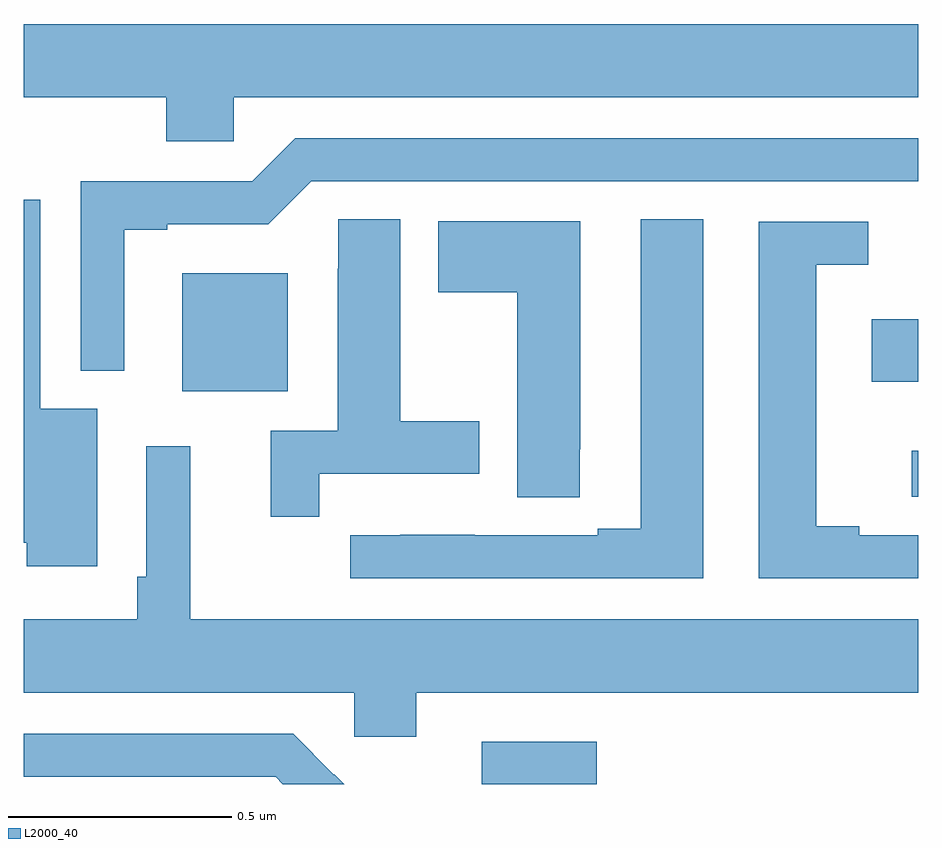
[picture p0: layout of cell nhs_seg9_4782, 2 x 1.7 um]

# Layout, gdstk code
import gdstk
lib = gdstk.Library(unit=1e-6, precision=1e-09)
def R(c, l, rs):  # rectangles x0, y0, x1, y1
    for r in rs: c.add(gdstk.rectangle(r[:2], r[2:], *l))
def P(c, l, *ps):  # polygons
    for p in ps: c.add(gdstk.Polygon(p, *l))
L2000_40 = (2000, 40)

nhs_seg9_4782 = lib.new_cell('nhs_seg9_4782')
R(nhs_seg9_4782, L2000_40, [(171.024,1245.5,171.281,1245.594), (171.986,1246.143,172,1246.245), (170.354,1246.379,170.59,1246.642), (171.896,1246.4,172,1246.54)])
P(nhs_seg9_4782, L2000_40, [(170.469,1247.036),(172,1247.036),(172,1247.2),(170,1247.2),(170,1247.036),(170.318,1247.036),(170.318,1246.938),(170.469,1246.938)],
  [(170.224,1246.74),(170.32,1246.74),(170.32,1246.752),(170.547,1246.752),(170.643,1246.848),(172,1246.848),(172,1246.944),(170.607,1246.944),(170.511,1246.848),(170.127,1246.848),(170.127,1246.424),(170.224,1246.424)],
  [(170.164,1246.339),(170.037,1246.339),(170.037,1246.807),(170,1246.807),(170,1246.04),(170.006,1246.04),(170.006,1245.987),(170.164,1245.987)],
  [(171.52,1246.763),(171.38,1246.763),(171.38,1246.071),(171.284,1246.071),(171.284,1246.056),(171.008,1246.056),(171.008,1246.057),(170.842,1246.057),(170.842,1246.056),(170.73,1246.056),(170.73,1245.96),(171.52,1245.96)],
  [(170.66,1246.194),(171.019,1246.194),(171.019,1246.311),(170.842,1246.311),(170.842,1246.763),(170.703,1246.763),(170.703,1246.652),(170.702,1246.652),(170.702,1246.29),(170.552,1246.29),(170.552,1246.098),(170.66,1246.098)],
  [(171.243,1246.249),(171.244,1246.249),(171.244,1246.759),(170.927,1246.759),(170.927,1246.6),(171.104,1246.6),(171.104,1246.141),(171.243,1246.141)],
  [(172,1246.056),(171.868,1246.056),(171.868,1246.076),(171.772,1246.076),(171.772,1246.662),(171.889,1246.662),(171.889,1246.758),(171.644,1246.758),(171.644,1245.96),(172,1245.96)],
  [(170.878,1245.704),(172,1245.704),(172,1245.868),(170.372,1245.868),(170.372,1246.255),(170.274,1246.255),(170.274,1245.964),(170.254,1245.964),(170.254,1245.868),(170,1245.868),(170,1245.704),(170.739,1245.704),(170.739,1245.606),(170.878,1245.606)],
  [(170.694,1245.522),(170.693,1245.521),(170.602,1245.612),(170,1245.612),(170,1245.516),(170.563,1245.516),(170.579,1245.5),(170.716,1245.5)])

lib.write_gds('nhs_seg9_4782.gds')
